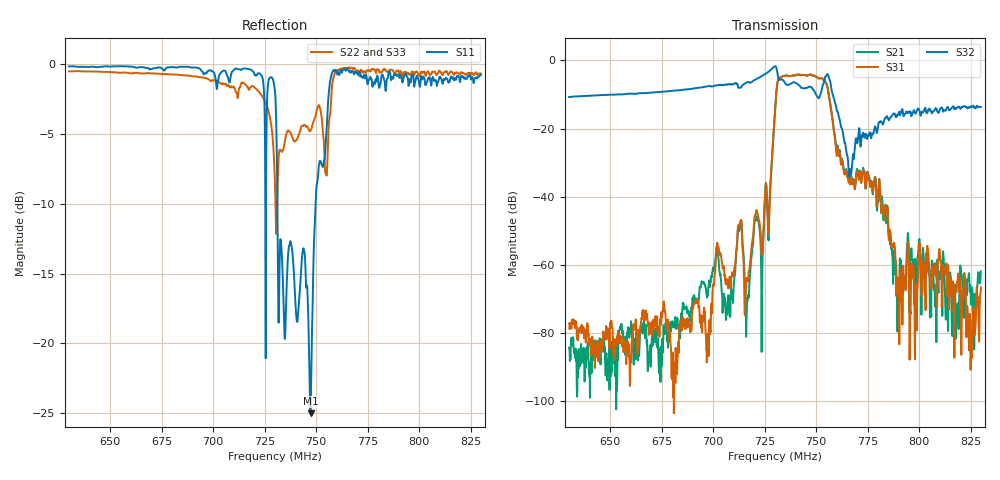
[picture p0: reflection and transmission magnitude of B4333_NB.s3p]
! Matrix data file written by TouchstoneData, EPCOS AG
! FILENAME: "B4333_X43Y32_NB.snp"
! COMMENT: "(TS/AB84A_2_X43Y32_NB.s3p) Epcos AG 4/21/201"
! INFO: nport=3, nfreq=1601
! DATE: "Thu Aug  7 16:00:38 2014"
! USER: "Dan Wang"
! port | pin | signal
!  1  |  1  |  input
!  2  |  3  |  output
!  3  |  4  |  output
# MHZ S RI R 50
! freq  reS11 imS11  reS12 imS12  reS13 imS13  ...
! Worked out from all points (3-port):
!   1601 points, 630 MHz to 830 MHz, reference 50 ohm
!   strongest paths, dB at 630 MHz, 680 MHz, 730 MHz, 780 MHz, 830 MHz:
!     S32: -10.7, -8.9, -1.7, -19.6, -13.7
!     S31: -77.2, -85.8, -15.0, -39.2, -66.6
!     S21: -84.3, -77.8, -15.0, -40.9, -61.9
!   lowest |S11| = -25.0 dB at 747.2 MHz (marker M1), VSWR 1.12, Z = 44.8 - j1.19 ohm
!   |S11| at or under -10 dB: 725.2786 MHz to 725.6344 MHz (355.8 kHz wide, 0.049 % of centre); 731.2 MHz to 749.7 MHz (18.55 MHz wide, 2.5 % of centre)
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630  0.4519 -0.8665  -1.5e-05 5.94e-05  1.96e-05 0.000137
     -1.5e-05 5.94e-05  0.7863 -0.5126  0.1619 0.2416
     1.96e-05 0.000137  0.1619 0.2416  0.785 -0.5179
697.125  0.1169 -0.931  -0.000342 -6.3e-05  -6.63e-05 -2.16e-05
         -0.000342 -6.3e-05  0.6526 -0.5955  0.2924 0.2988
         -6.63e-05 -2.16e-05  0.2924 0.2988  0.6489 -0.5991
712.875  -0.1136 -0.9467  0.00344 -0.000116  -0.00403 0.000178
         0.00344 -0.000116  0.6194 -0.5388  0.3233 0.2362
         -0.00403 0.000178  0.3233 0.2362  0.6174 -0.5482
716.5  -0.2478 -0.9258  -8.19e-05 -0.000269  -0.000593 -0.000221
       -8.19e-05 -0.000269  0.5646 -0.6044  0.3754 0.298
       -0.000593 -0.000221  0.3754 0.298  0.5655 -0.6105
730  -0.782 0.1605  0.0227 0.1761  -0.0255 -0.1751
     0.0227 0.1761  0.1158 -0.3478  0.8229 0.0272
     -0.0255 -0.1751  0.8229 0.0272  0.116 -0.3504
737.75  -0.0988 -0.2061  -0.5813 0.1152  0.5797 -0.1166
        -0.5813 0.1152  0.4812 -0.2902  0.4573 -0.0305
        0.5797 -0.1166  0.4573 -0.0305  0.4828 -0.2949
747.25  -0.0547 -0.0133  0.6192 -0.0546  -0.6187 0.0564
        0.6192 -0.0546  0.5457 -0.1849  0.3865 -0.1405
        -0.6187 0.0564  0.3865 -0.1405  0.5469 -0.1884
766.5  0.8635 -0.3773  -0.00942 0.0145  0.00975 -0.0116
       -0.00942 0.0145  0.9144 -0.3058  0.0217 -0.00987
       0.00975 -0.0116  0.0217 -0.00987  0.9095 -0.3188
789.375  0.6595 -0.6214  0.000335 -0.000169  -3.46e-05 0.000609
         0.000335 -0.000169  0.8298 -0.4439  0.1043 0.1197
         -3.46e-05 0.000609  0.1043 0.1197  0.8142 -0.4464
830  0.5179 -0.7511  0.000156 0.000792  -0.000214 -0.000418
     0.000156 0.000792  0.7772 -0.4934  0.1449 0.1483
     -0.000214 -0.000418  0.1449 0.1483  0.7782 -0.4989
